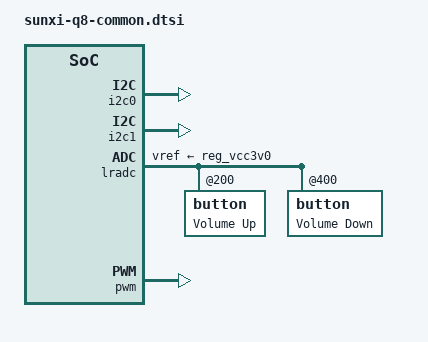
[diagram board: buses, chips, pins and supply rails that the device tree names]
/*
 * Copyright 2015 Hans de Goede <hdegoede@redhat.com>
 *
 * This file is dual-licensed: you can use it either under the terms
 * of the GPL or the X11 license, at your option. Note that this dual
 * licensing only applies to this file, and not this project as a
 * whole.
 *
 *  a) This file is free software; you can redistribute it and/or
 *     modify it under the terms of the GNU General Public License as
 *     published by the Free Software Foundation; either version 2 of the
 *     License, or (at your option) any later version.
 *
 *     This file is distributed in the hope that it will be useful,
 *     but WITHOUT ANY WARRANTY; without even the implied warranty of
 *     MERCHANTABILITY or FITNESS FOR A PARTICULAR PURPOSE.  See the
 *     GNU General Public License for more details.
 *
 * Or, alternatively,
 *
 *  b) Permission is hereby granted, free of charge, to any person
 *     obtaining a copy of this software and associated documentation
 *     files (the "Software"), to deal in the Software without
 *     restriction, including without limitation the rights to use,
 *     copy, modify, merge, publish, distribute, sublicense, and/or
 *     sell copies of the Software, and to permit persons to whom the
 *     Software is furnished to do so, subject to the following
 *     conditions:
 *
 *     The above copyright notice and this permission notice shall be
 *     included in all copies or substantial portions of the Software.
 *
 *     THE SOFTWARE IS PROVIDED "AS IS", WITHOUT WARRANTY OF ANY KIND,
 *     EXPRESS OR IMPLIED, INCLUDING BUT NOT LIMITED TO THE WARRANTIES
 *     OF MERCHANTABILITY, FITNESS FOR A PARTICULAR PURPOSE AND
 *     NONINFRINGEMENT. IN NO EVENT SHALL THE AUTHORS OR COPYRIGHT
 *     HOLDERS BE LIABLE FOR ANY CLAIM, DAMAGES OR OTHER LIABILITY,
 *     WHETHER IN AN ACTION OF CONTRACT, TORT OR OTHERWISE, ARISING
 *     FROM, OUT OF OR IN CONNECTION WITH THE SOFTWARE OR THE USE OR
 *     OTHER DEALINGS IN THE SOFTWARE.
 */

#include <dt-bindings/gpio/gpio.h>
#include <dt-bindings/input/input.h>
#include <dt-bindings/pinctrl/sun4i-a10.h>
#include "sunxi-common-regulators.dtsi"

&i2c0 {
	pinctrl-names = "default";
	pinctrl-0 = <&i2c0_pins_a>;
	status = "okay";
};

&i2c1 {
	pinctrl-names = "default";
	pinctrl-0 = <&i2c1_pins_a>;
	status = "okay";
};

&lradc {
	vref-supply = <&reg_vcc3v0>;
	status = "okay";

	button@200 {
		label = "Volume Up";
		linux,code = <KEY_VOLUMEUP>;
		channel = <0>;
		voltage = <200000>;
	};

	button@400 {
		label = "Volume Down";
		linux,code = <KEY_VOLUMEDOWN>;
		channel = <0>;
		voltage = <400000>;
	};
};

&pwm {
	pinctrl-names = "default";
	pinctrl-0 = <&pwm0_pins>;
	status = "okay";
};
